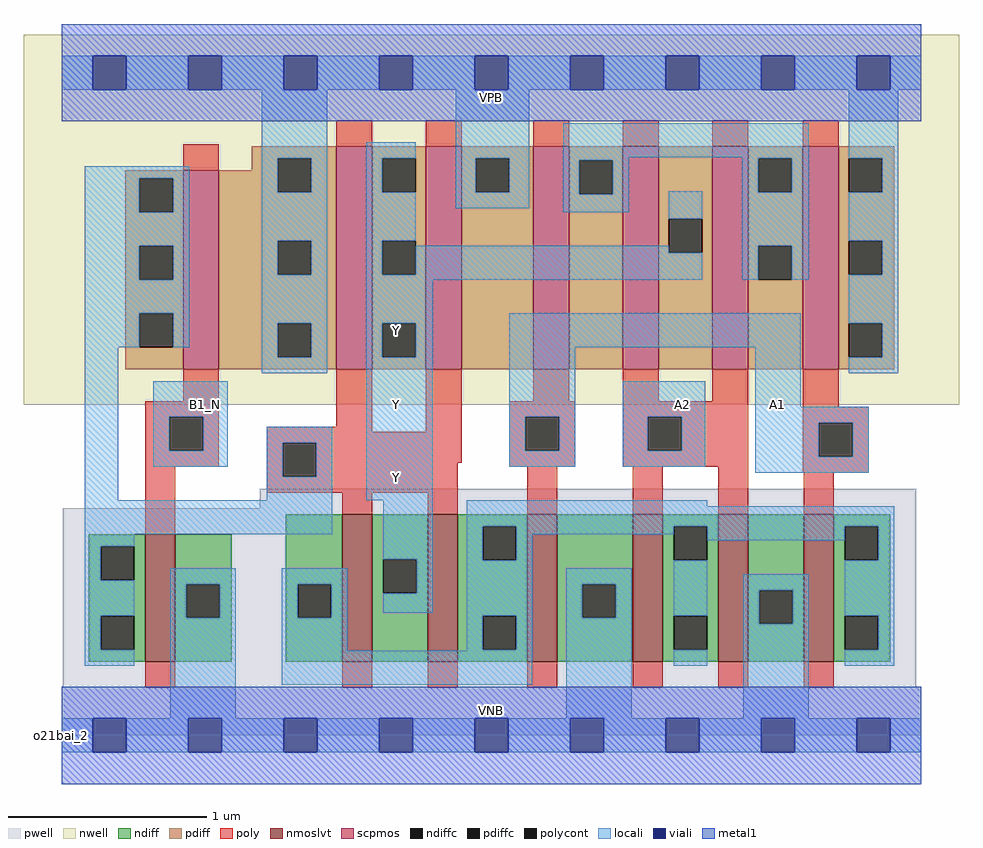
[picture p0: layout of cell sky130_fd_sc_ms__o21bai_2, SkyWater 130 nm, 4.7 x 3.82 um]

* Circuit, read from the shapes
.subckt sky130_fd_sc_ms__o21bai_2 A1 A2 B1_N VGND VNB VPB VPWR Y
XM1 VGND B1_N n1 VNB sky130_fd_pr__nfet_01v8_lvt w=0.64 l=0.15
XM2 Y n1 n2 VNB sky130_fd_pr__nfet_01v8_lvt w=0.74 l=0.15 m=2
XM3 VGND A1 n2 VNB sky130_fd_pr__nfet_01v8_lvt w=0.74 l=0.15 m=2
XM4 n2 A2 VGND VNB sky130_fd_pr__nfet_01v8_lvt w=0.74 l=0.15 m=2
XM5 VPWR B1_N n1 VPB sky130_fd_pr__pfet_01v8 w=1 l=0.18
XM6 Y n1 VPWR VPB sky130_fd_pr__pfet_01v8 w=1.12 l=0.18 m=2
XM7 n3 A1 VPWR VPB sky130_fd_pr__pfet_01v8 w=1.12 l=0.18 m=2
XM8 Y A2 n3 VPB sky130_fd_pr__pfet_01v8 w=1.12 l=0.18 m=2
.ends

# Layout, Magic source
magic
tech sky130A
magscale 1 2
<< nwell >>
rect -38 332 902 704
<< pwell >>
rect 199 228 859 248
rect 1 49 859 228
rect 0 0 864 49
<< scpmos >>
rect 122 368 158 568
rect 276 368 312 592
rect 366 368 402 592
rect 474 368 510 592
rect 564 368 600 592
rect 654 368 690 592
rect 745 368 781 592
<< nmoslvt >>
rect 84 74 114 202
rect 282 74 312 222
rect 368 74 398 222
rect 468 74 498 222
rect 574 74 604 222
rect 660 74 690 222
rect 746 74 776 222
<< ndiff >>
rect 27 190 84 202
rect 27 156 39 190
rect 73 156 84 190
rect 27 120 84 156
rect 27 86 39 120
rect 73 86 84 120
rect 27 74 84 86
rect 114 152 171 202
rect 114 118 125 152
rect 159 118 171 152
rect 114 74 171 118
rect 225 152 282 222
rect 225 118 237 152
rect 271 118 282 152
rect 225 74 282 118
rect 312 177 368 222
rect 312 143 323 177
rect 357 143 368 177
rect 312 74 368 143
rect 398 210 468 222
rect 398 176 423 210
rect 457 176 468 210
rect 398 120 468 176
rect 398 86 423 120
rect 457 86 468 120
rect 398 74 468 86
rect 498 152 574 222
rect 498 118 523 152
rect 557 118 574 152
rect 498 74 574 118
rect 604 210 660 222
rect 604 176 615 210
rect 649 176 660 210
rect 604 120 660 176
rect 604 86 615 120
rect 649 86 660 120
rect 604 74 660 86
rect 690 146 746 222
rect 690 112 701 146
rect 735 112 746 146
rect 690 74 746 112
rect 776 210 833 222
rect 776 176 787 210
rect 821 176 833 210
rect 776 120 833 176
rect 776 86 787 120
rect 821 86 833 120
rect 776 74 833 86
<< pdiff >>
rect 191 580 276 592
rect 191 568 217 580
rect 64 560 122 568
rect 64 526 78 560
rect 112 526 122 560
rect 64 492 122 526
rect 64 458 78 492
rect 112 458 122 492
rect 64 424 122 458
rect 64 390 78 424
rect 112 390 122 424
rect 64 368 122 390
rect 158 546 217 568
rect 251 546 276 580
rect 158 497 276 546
rect 158 463 217 497
rect 251 463 276 497
rect 158 414 276 463
rect 158 380 217 414
rect 251 380 276 414
rect 158 368 276 380
rect 312 580 366 592
rect 312 546 322 580
rect 356 546 366 580
rect 312 497 366 546
rect 312 463 322 497
rect 356 463 366 497
rect 312 414 366 463
rect 312 380 322 414
rect 356 380 366 414
rect 312 368 366 380
rect 402 580 474 592
rect 402 546 416 580
rect 450 546 474 580
rect 402 368 474 546
rect 510 578 564 592
rect 510 544 520 578
rect 554 544 564 578
rect 510 368 564 544
rect 600 519 654 592
rect 600 485 610 519
rect 644 485 654 519
rect 600 368 654 485
rect 690 580 745 592
rect 690 546 700 580
rect 734 546 745 580
rect 690 492 745 546
rect 690 458 700 492
rect 734 458 745 492
rect 690 368 745 458
rect 781 580 837 592
rect 781 546 791 580
rect 825 546 837 580
rect 781 497 837 546
rect 781 463 791 497
rect 825 463 837 497
rect 781 414 837 463
rect 781 380 791 414
rect 825 380 837 414
rect 781 368 837 380
<< ndiffc >>
rect 39 156 73 190
rect 39 86 73 120
rect 125 118 159 152
rect 237 118 271 152
rect 323 143 357 177
rect 423 176 457 210
rect 423 86 457 120
rect 523 118 557 152
rect 615 176 649 210
rect 615 86 649 120
rect 701 112 735 146
rect 787 176 821 210
rect 787 86 821 120
<< pdiffc >>
rect 78 526 112 560
rect 78 458 112 492
rect 78 390 112 424
rect 217 546 251 580
rect 217 463 251 497
rect 217 380 251 414
rect 322 546 356 580
rect 322 463 356 497
rect 322 380 356 414
rect 416 546 450 580
rect 520 544 554 578
rect 610 485 644 519
rect 700 546 734 580
rect 700 458 734 492
rect 791 546 825 580
rect 791 463 825 497
rect 791 380 825 414
<< poly >>
rect 122 568 158 594
rect 276 592 312 618
rect 366 592 402 618
rect 474 592 510 618
rect 564 592 600 618
rect 654 592 690 618
rect 745 592 781 618
rect 122 336 158 368
rect 84 320 158 336
rect 84 286 108 320
rect 142 286 158 320
rect 276 310 312 368
rect 84 270 158 286
rect 206 305 312 310
rect 366 305 402 368
rect 474 336 510 368
rect 564 336 600 368
rect 654 336 690 368
rect 206 294 402 305
rect 84 202 114 270
rect 206 260 222 294
rect 256 274 402 294
rect 450 320 516 336
rect 450 286 466 320
rect 500 286 516 320
rect 256 260 398 274
rect 450 270 516 286
rect 564 320 690 336
rect 564 286 589 320
rect 623 286 690 320
rect 564 270 690 286
rect 206 244 398 260
rect 282 222 312 244
rect 368 222 398 244
rect 468 222 498 270
rect 574 222 604 270
rect 660 222 690 270
rect 745 330 781 368
rect 745 314 811 330
rect 745 280 761 314
rect 795 280 811 314
rect 745 264 811 280
rect 746 222 776 264
rect 84 48 114 74
rect 282 48 312 74
rect 368 48 398 74
rect 468 48 498 74
rect 574 48 604 74
rect 660 48 690 74
rect 746 48 776 74
<< polycont >>
rect 108 286 142 320
rect 222 260 256 294
rect 466 286 500 320
rect 589 286 623 320
rect 761 280 795 314
<< locali >>
rect 0 649 31 683
rect 65 649 127 683
rect 161 649 223 683
rect 257 649 319 683
rect 353 649 415 683
rect 449 649 511 683
rect 545 649 607 683
rect 641 649 703 683
rect 737 649 799 683
rect 833 649 864 683
rect 201 580 267 649
rect 23 560 128 572
rect 23 526 78 560
rect 112 526 128 560
rect 23 492 128 526
rect 23 458 78 492
rect 112 458 128 492
rect 23 424 128 458
rect 23 390 78 424
rect 112 390 128 424
rect 201 546 217 580
rect 251 546 267 580
rect 201 497 267 546
rect 201 463 217 497
rect 251 463 267 497
rect 201 414 267 463
rect 23 236 57 390
rect 201 380 217 414
rect 251 380 267 414
rect 201 364 267 380
rect 306 580 356 596
rect 306 546 322 580
rect 306 497 356 546
rect 396 580 470 649
rect 396 546 416 580
rect 450 546 470 580
rect 396 530 470 546
rect 504 581 751 615
rect 504 578 570 581
rect 504 544 520 578
rect 554 544 570 578
rect 684 580 751 581
rect 504 526 570 544
rect 306 463 322 497
rect 610 519 644 547
rect 356 485 610 492
rect 356 463 644 485
rect 306 458 644 463
rect 684 546 700 580
rect 734 546 751 580
rect 684 492 751 546
rect 684 458 700 492
rect 734 458 751 492
rect 791 580 841 649
rect 825 546 841 580
rect 791 497 841 546
rect 825 463 841 497
rect 306 414 373 458
rect 306 380 322 414
rect 356 380 373 414
rect 92 320 167 356
rect 92 286 108 320
rect 142 286 167 320
rect 92 270 167 286
rect 206 294 272 310
rect 206 260 222 294
rect 256 260 272 294
rect 206 236 272 260
rect 306 236 373 380
rect 450 390 743 424
rect 450 320 516 390
rect 450 286 466 320
rect 500 286 516 320
rect 450 270 516 286
rect 564 320 647 356
rect 564 286 589 320
rect 623 286 647 320
rect 564 270 647 286
rect 697 330 743 390
rect 791 414 841 463
rect 825 380 841 414
rect 791 364 841 380
rect 697 314 811 330
rect 697 280 761 314
rect 795 280 811 314
rect 697 264 811 280
rect 23 202 272 236
rect 23 190 73 202
rect 23 156 39 190
rect 323 177 373 236
rect 23 120 73 156
rect 23 86 39 120
rect 23 70 73 86
rect 109 152 175 168
rect 109 118 125 152
rect 159 118 175 152
rect 109 17 175 118
rect 221 152 287 168
rect 221 118 237 152
rect 271 118 287 152
rect 357 143 373 177
rect 323 123 373 143
rect 407 230 649 236
rect 407 210 837 230
rect 407 176 423 210
rect 457 202 615 210
rect 457 176 473 202
rect 221 85 287 118
rect 407 120 473 176
rect 649 196 787 210
rect 407 86 423 120
rect 457 86 473 120
rect 407 85 473 86
rect 221 51 473 85
rect 507 152 573 168
rect 507 118 523 152
rect 557 118 573 152
rect 507 17 573 118
rect 615 120 649 176
rect 821 176 837 210
rect 615 70 649 86
rect 685 146 751 162
rect 685 112 701 146
rect 735 112 751 146
rect 685 17 751 112
rect 787 120 837 176
rect 821 86 837 120
rect 787 70 837 86
rect 0 -17 31 17
rect 65 -17 127 17
rect 161 -17 223 17
rect 257 -17 319 17
rect 353 -17 415 17
rect 449 -17 511 17
rect 545 -17 607 17
rect 641 -17 703 17
rect 737 -17 799 17
rect 833 -17 864 17
<< viali >>
rect 31 649 65 683
rect 127 649 161 683
rect 223 649 257 683
rect 319 649 353 683
rect 415 649 449 683
rect 511 649 545 683
rect 607 649 641 683
rect 703 649 737 683
rect 799 649 833 683
rect 31 -17 65 17
rect 127 -17 161 17
rect 223 -17 257 17
rect 319 -17 353 17
rect 415 -17 449 17
rect 511 -17 545 17
rect 607 -17 641 17
rect 703 -17 737 17
rect 799 -17 833 17
<< metal1 >>
rect 0 683 864 715
rect 0 649 31 683
rect 65 649 127 683
rect 161 649 223 683
rect 257 649 319 683
rect 353 649 415 683
rect 449 649 511 683
rect 545 649 607 683
rect 641 649 703 683
rect 737 649 799 683
rect 833 649 864 683
rect 0 617 864 649
rect 0 17 864 49
rect 0 -17 31 17
rect 65 -17 127 17
rect 161 -17 223 17
rect 257 -17 319 17
rect 353 -17 415 17
rect 449 -17 511 17
rect 545 -17 607 17
rect 641 -17 703 17
rect 737 -17 799 17
rect 833 -17 864 17
rect 0 -49 864 -17
<< labels >>
flabel pwell s 0 0 864 49 0 FreeSans 200 0 0 0 VNB
port 5 nsew ground bidirectional
flabel nwell s 0 617 864 666 0 FreeSans 200 0 0 0 VPB
port 6 nsew power bidirectional
rlabel comment s 0 0 0 0 4 o21bai_2
flabel metal1 s 0 617 864 666 0 FreeSans 340 0 0 0 VPWR
port 7 nsew power bidirectional
flabel metal1 s 0 0 864 49 0 FreeSans 340 0 0 0 VGND
port 4 nsew ground bidirectional
flabel locali s 703 316 737 350 0 FreeSans 340 0 0 0 A1
port 1 nsew signal input
flabel locali s 607 316 641 350 0 FreeSans 340 0 0 0 A2
port 2 nsew signal input
flabel locali s 127 316 161 350 0 FreeSans 340 0 0 0 B1_N
port 3 nsew signal input
flabel locali s 319 242 353 276 0 FreeSans 340 0 0 0 Y
port 8 nsew signal output
flabel locali s 319 316 353 350 0 FreeSans 340 0 0 0 Y
port 8 nsew signal output
flabel locali s 319 390 353 424 0 FreeSans 340 0 0 0 Y
port 8 nsew signal output
<< properties >>
string LEFsite unit
string LEFclass CORE
string FIXED_BBOX 0 0 864 666
string GDS_FILE $PDKPATH/libs.ref/sky130_fd_sc_ms/gds/sky130_fd_sc_ms.gds
string LEFsymmetry X Y
string GDS_END 3143956
string GDS_START 3136592
<< end >>
